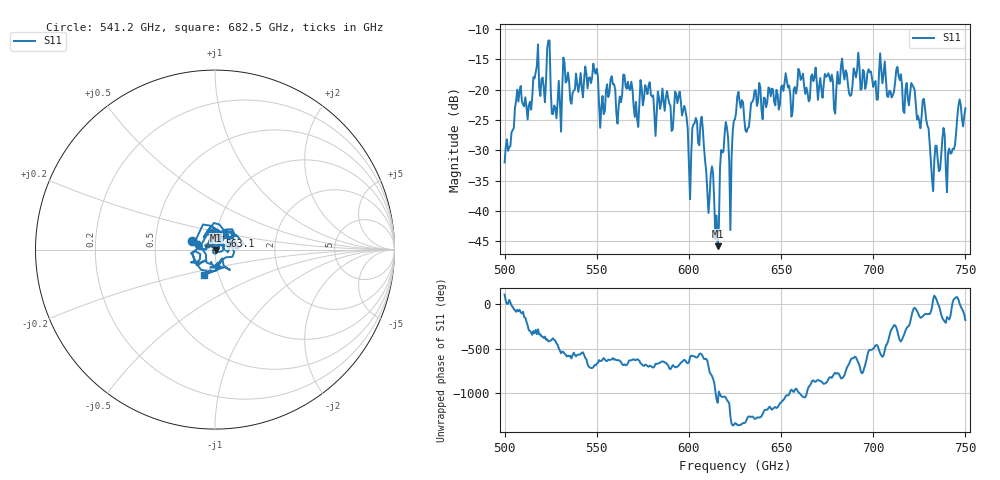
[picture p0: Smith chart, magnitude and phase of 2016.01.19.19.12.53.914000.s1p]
!Created with skrf (http://scikit-rf.org).
# GHz S RI R 50.0
!freq ReS11 ImS11
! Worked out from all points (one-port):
!   401 points, 500 GHz to 750 GHz, reference 50 ohm
!   lowest |S11| = -45.8 dB at 615.6 GHz (marker M1), VSWR 1.01, Z = 50.5 - j0.242 ohm
!   |S11| at or under -10 dB: start of sweep to end of sweep
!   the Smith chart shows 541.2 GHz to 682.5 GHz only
!   S11 on the Smith chart (normalised r, x): 541.2 GHz: 0.77, +0.07; 563.1 GHz: 1.04, +0.16; 682.5 GHz: 0.85, -0.25
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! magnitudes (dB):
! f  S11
! 500 GHz  -32.0
! 516.9 GHz  -17.2
! 520.6 GHz  -18.0
! 523.8 GHz  -11.9
! 526.9 GHz  -22.6
! 531.2 GHz  -20.0
! 541.2 GHz  -17.3
! 549.4 GHz  -17.4
! 552.5 GHz  -22.8
! 562.5 GHz  -21.1
! 563.1 GHz  -22.1
! 593.8 GHz  -22.2
! 600.6 GHz  -38.1
! 603.1 GHz  -25.5
! 607.5 GHz  -26.3
! 610 GHz  -36.7
! 615.6 GHz  -45.8
! 618.8 GHz  -30.2
! 622.5 GHz  -43.2
! 625 GHz  -24.9
! 656.2 GHz  -23.6
! 682.5 GHz  -16.0
! 687.5 GHz  -21.0
! 705 GHz  -18.9
! 718.8 GHz  -21.4
! 728.1 GHz  -23.2
! 732.5 GHz  -36.7
! 750 GHz  -23.1
